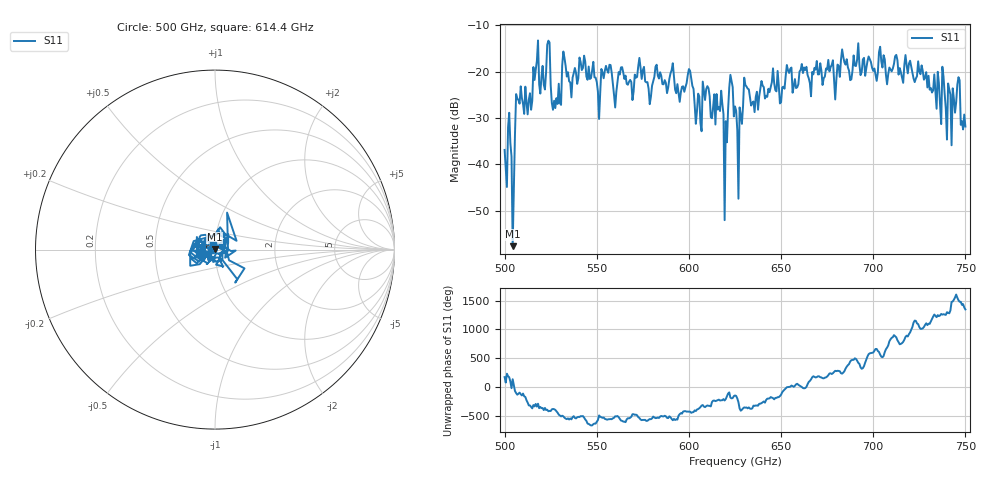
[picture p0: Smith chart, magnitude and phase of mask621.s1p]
!Created with skrf (http://scikit-rf.org).
# GHz S MA R 50.0
!freq magS11 angS11
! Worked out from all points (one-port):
!   401 points, 500 GHz to 750 GHz, reference 50 ohm
!   lowest |S11| = -57.6 dB at 504.4 GHz (marker M1), VSWR 1.00, Z = 49.9 + j0.089 ohm
!   |S11| at or under -10 dB: start of sweep to end of sweep
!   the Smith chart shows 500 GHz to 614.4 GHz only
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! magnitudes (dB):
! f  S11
! 500 GHz  -36.9
! 502.5 GHz  -28.9
! 504.4 GHz  -57.6
! 507.5 GHz  -26.1
! 513.8 GHz  -24.7
! 516.9 GHz  -19.6
! 520.6 GHz  -18.8
! 523.8 GHz  -13.3
! 526.9 GHz  -26.3
! 531.2 GHz  -18.6
! 562.5 GHz  -20.6
! 593.8 GHz  -22.7
! 600 GHz  -19.5
! 605.6 GHz  -25.3
! 608.8 GHz  -26.1
! 616.2 GHz  -27.6
! 620 GHz  -30.7
! 622.5 GHz  -20.7
! 625 GHz  -27.5
! 627.5 GHz  -27.7
! 631.2 GHz  -23.2
! 635 GHz  -26.4
! 656.2 GHz  -24.5
! 687.5 GHz  -21.8
! 718.8 GHz  -20.4
! 741.2 GHz  -23.8
! 745.6 GHz  -22.8
! 750 GHz  -31.8
